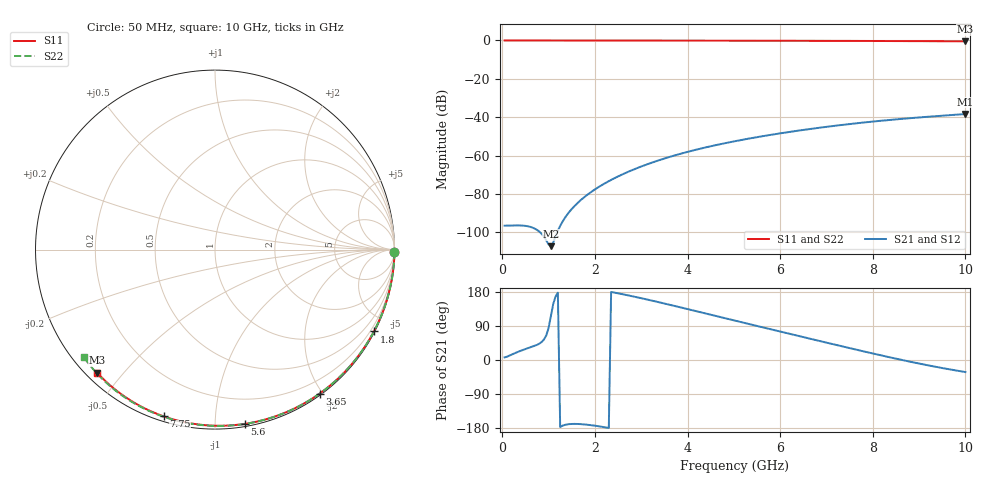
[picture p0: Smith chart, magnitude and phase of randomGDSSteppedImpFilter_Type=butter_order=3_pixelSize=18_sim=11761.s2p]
! freq	dB(S11)	phase(S11)	dB(S12)	phase(S12)
!  dB(S21)	phase(S21)	dB(S22)	phase(S22)
!S-par simulation data
#  GHz  S  DB  R 50
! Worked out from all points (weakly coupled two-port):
!   200 points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, 50 MHz to 10 GHz, reference 50 ohm
!   highest |S21| = -38.33 dB at 10 GHz (marker M1); lowest = -107.1 dB at 1.05 GHz (marker M2)
!   lowest |S11| = -0.5 dB at 10 GHz (marker M3), VSWR 38.53, Z = 1.53 - j21.3 ohm
!   |S11| at or under -10 dB: nowhere
!   |S22| runs from -0.5 to 0.0 dB; largest |S21 - S12| = 0
!   S11 on the Smith chart (normalised r, x): 50 MHz: open; 1.8 GHz: 0.04, -4.12; 3.65 GHz: 0.02, -1.96; 5.6 GHz: 0.02, -1.19; 7.75 GHz: 0.02, -0.74; 10 GHz: 0.03, -0.43
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0.05  -0.00 -0.8  -96.47 7.0  -96.47 7.0  -0.00 -0.8
0.55  -0.01 -8.4  -96.78 31.0  -96.78 31.0  -0.01 -8.9
1.05  -0.02 -16.0  -107.14 115.7  -107.14 115.7  -0.02 -17.0
1.75  -0.03 -26.5  -82.01 -169.8  -82.01 -169.8  -0.04 -28.1
1.8  -0.03 -27.3  -81.04 -170.3  -81.04 -170.3  -0.04 -28.9
1.85  -0.04 -28.0  -80.12 -171.0  -80.12 -171.0  -0.04 -29.7
2.15  -0.04 -32.4  -75.32 -176.2  -75.32 -176.2  -0.04 -34.4
2.35  -0.05 -35.4  -72.63 179.5  -72.63 179.5  -0.05 -37.5
2.55  -0.05 -38.3  -70.23 174.8  -70.23 174.8  -0.05 -40.6
2.95  -0.06 -44.1  -66.11 164.5  -66.11 164.5  -0.06 -46.7
3.4  -0.07 -50.5  -62.25 151.9  -62.25 151.9  -0.07 -53.5
3.65  -0.07 -54.0  -60.39 144.7  -60.39 144.7  -0.08 -57.2
4.3  -0.09 -63.0  -56.22 125.5  -56.22 125.5  -0.09 -66.7
5.05  -0.11 -73.1  -52.35 103.2  -52.35 103.2  -0.12 -77.3
5.6  -0.13 -80.3  -49.95 86.9  -49.95 86.9  -0.14 -84.9
6.15  -0.15 -87.4  -47.83 70.7  -47.83 70.7  -0.16 -92.3
6.7  -0.18 -94.3  -45.93 54.6  -45.93 54.6  -0.19 -99.5
7.2  -0.21 -100.4  -44.39 40.0  -44.39 40.0  -0.22 -106.0
7.75  -0.25 -107.1  -42.87 24.2  -42.87 24.2  -0.26 -113.0
8.35  -0.29 -114.3  -41.43 7.5  -41.43 7.5  -0.31 -120.6
9.2  -0.37 -124.3  -39.72 -14.2  -39.72 -14.2  -0.39 -131.1
10  -0.45 -133.8  -38.33 -31.8  -38.33 -31.8  -0.49 -140.8
